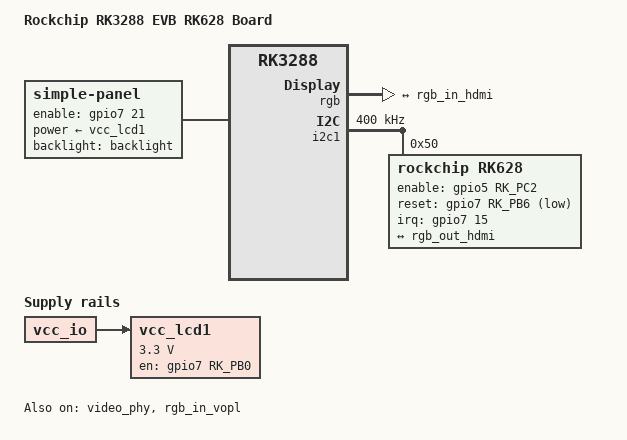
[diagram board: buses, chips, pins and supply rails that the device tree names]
// SPDX-License-Identifier: (GPL-2.0+ OR MIT)
// Copyright (c) 2020 Fuzhou Rockchip Electronics Co., Ltd

/dts-v1/;
#include "rk3288-evb-rk628.dtsi"

/ {
	model = "Rockchip RK3288 EVB RK628 Board";
	compatible = "rockchip,rk3288-evb-rk628", "rockchip,rk3288";

	chosen {
		bootargs = "rootwait earlycon=uart8250,mmio32,0xff690000 vmalloc=496M swiotlb=1 console=ttyFIQ0 androidboot.baseband=N/A androidboot.veritymode=enforcing androidboot.hardware=rk30board androidboot.console=ttyFIQ0 init=/init kpti=0";
	};

	vcc_lcd1: vcc-lcd1 {
		compatible = "regulator-fixed";
		regulator-name = "vcc_lcd1";
		regulator-min-microvolt = <3300000>;
		regulator-max-microvolt = <3300000>;
		regulator-boot-on;
		gpio = <&gpio7 RK_PB0 GPIO_ACTIVE_HIGH>;
		enable-active-high;
		vin-supply = <&vcc_io>;
	};

	panel {
		compatible = "simple-panel";
		backlight = <&backlight>;
		power-supply = <&vcc_lcd1>;
		enable-gpios = <&gpio7 21 GPIO_ACTIVE_HIGH>;
		prepare-delay-ms = <120>;
		enable-delay-ms = <120>;
		disable-delay-ms = <120>;
		unprepare-delay-ms = <20>;
		status = "okay";

		display-timings {
			native-mode = <&timing0>;

			timing0: timing0 {
				clock-frequency = <148500000>;
				hactive = <1920>;
				vactive = <1080>;
				hback-porch = <148>;
				hfront-porch = <88>;
				vback-porch = <36>;
				vfront-porch = <4>;
				hsync-len = <44>;
				vsync-len = <5>;
				hsync-active = <0>;
				vsync-active = <0>;
				de-active = <0>;
				pixelclk-active = <0>;
			};
		};
	};

};

&backlight {
	enable-gpios = <&gpio7 2 GPIO_ACTIVE_HIGH>;
};

&firmware_android {
	compatible = "android,firmware";
	boot_devices = "ff0f0000.dwmmc";

	vbmeta {
		compatible = "android,vbmeta";
		parts = "vbmeta,boot,system,vendor,dtbo";
	};

	fstab {
		compatible = "android,fstab";

		vendor {
			compatible = "android,vendor";
			dev = "/dev/block/by-name/vendor";
			type = "ext4";
			mnt_flags = "ro,barrier=1,inode_readahead_blks=8";
			fsmgr_flags = "wait,avb";
		};
	};
};

&rgb {
	status = "okay";

	ports {
		port@1 {
			reg = <1>;

			rgb_out_hdmi: endpoint {
				remote-endpoint = <&rgb_in_hdmi>;
			};
		};
	};
};

&i2c1 {
	clock-frequency = <400000>;
	status = "okay";

	rk628: rk628@50 {
		compatible = "rockchip,rk628";
		reg = <0x50>;
		pinctrl-names = "default";
		pinctrl-0 = <&test_clkout>;
		assigned-clocks = <&cru SCLK_TESTOUT_SRC>;
		assigned-clock-parents = <&xin24m>;
		clocks = <&cru SCLK_TESTOUT>;
		clock-names = "soc_24M";
		interrupt-parent = <&gpio7>;
		interrupts = <15 IRQ_TYPE_LEVEL_HIGH>;
		enable-gpios = <&gpio5 RK_PC2 GPIO_ACTIVE_HIGH>;
		reset-gpios = <&gpio7 RK_PB6 GPIO_ACTIVE_LOW>;
		//panel-enable-gpios = <&gpio7 RK_PA2 GPIO_ACTIVE_HIGH>;
		rk628,rgb-in;
		rk628,hdmi-out;
		status = "okay";

		port {
			rgb_in_hdmi: endpoint {
				remote-endpoint = <&rgb_out_hdmi>;
			};
		};
	};
};

&video_phy {
	status = "okay";
};

&rgb_in_vopb {
	status = "disabled";
};

&rgb_in_vopl {
	status = "okay";
};

&route_rgb {
	connect = <&vopl_out_rgb>;
	status = "disabled";
};

&pinctrl {
	test {
		test_clkout: test-clkout {
			rockchip,pins = <0 17 RK_FUNC_1 &pcfg_pull_none>;
		};
	};
};
